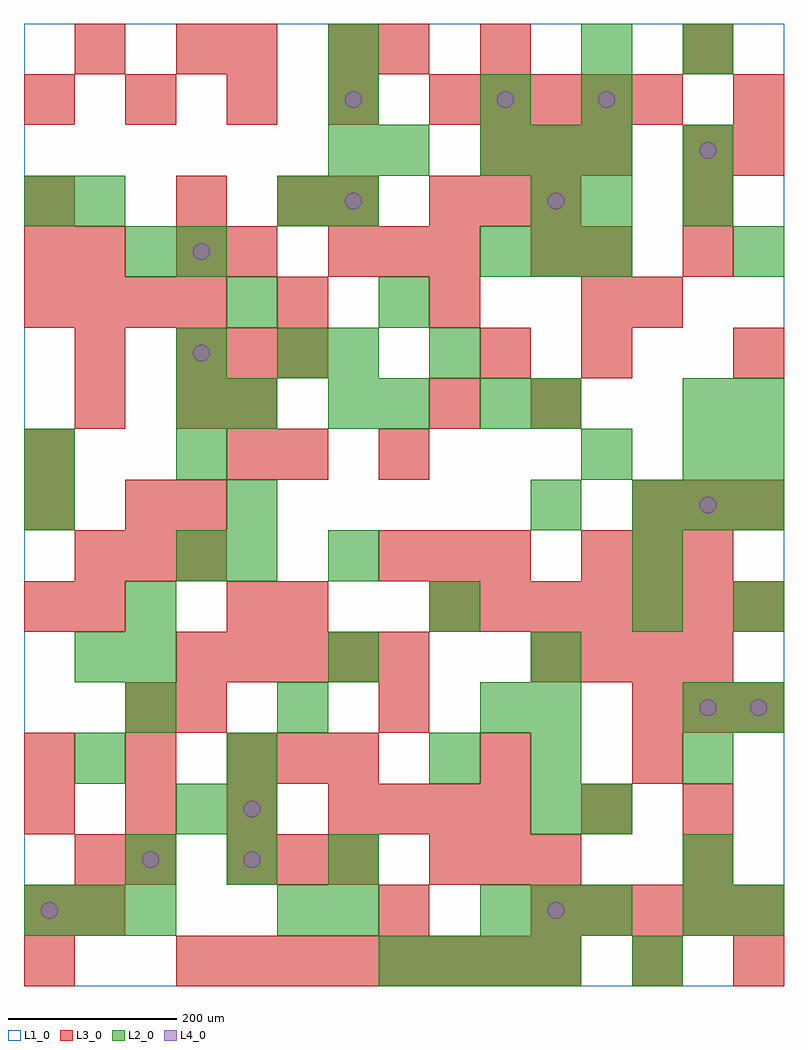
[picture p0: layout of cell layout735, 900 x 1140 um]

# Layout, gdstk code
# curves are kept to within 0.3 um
import gdstk
lib = gdstk.Library(unit=1e-6, precision=1e-09)
def R(c, l, rs):  # rectangles x0, y0, x1, y1
    for r in rs: c.add(gdstk.rectangle(r[:2], r[2:], *l))
def A(c, l, x, y, w, h, nx, ny, dx, dy):  # array of equal rectangles
    R(c, l, [(x+i*dx, y+j*dy, x+i*dx+w, y+j*dy+h) for i in range(nx) for j in range(ny)])
def P(c, l, *ps):  # polygons
    for p in ps: c.add(gdstk.Polygon(p, *l))
L1_0 = (1, 0)
L2_0 = (2, 0)
L3_0 = (3, 0)
L4_0 = (4, 0)

layout735 = lib.new_cell('layout735')
R(layout735, L1_0, [(0,0,900,1140)])
A(layout735, L2_0, 420, 0, 60, 60, 4, 1, 60, 0)
A(layout735, L2_0, 0, 60, 60, 60, 3, 1, 60, 0)
A(layout735, L2_0, 540, 60, 60, 60, 3, 2, 60, 780)
A(layout735, L2_0, 120, 120, 60, 60, 3, 1, 120, 0)
A(layout735, L2_0, 600, 180, 60, 60, 1, 3, 0, 60)
A(layout735, L2_0, 540, 300, 60, 60, 1, 3, 0, 360)
A(layout735, L2_0, 120, 360, 60, 60, 3, 1, 240, 0)
A(layout735, L2_0, 240, 540, 60, 60, 1, 3, 0, 120)
A(layout735, L2_0, 720, 540, 60, 60, 3, 1, 60, 0)
A(layout735, L2_0, 180, 600, 60, 60, 1, 3, 0, 60)
A(layout735, L2_0, 360, 900, 60, 60, 1, 4, 0, 60)
A(layout735, L2_0, 540, 960, 60, 60, 3, 1, 60, 0)
R(layout735, L2_0, [(720,0,780,60), (300,60,360,120), (360,60,420,120), (780,60,840,120), (840,60,900,120), (780,120,840,180), (180,180,240,240), (240,180,300,240), (660,180,720,240), (60,240,120,300), (240,240,300,300), (480,240,540,300), (780,240,840,300), (120,300,180,360), (300,300,360,360), (780,300,840,360), (840,300,900,360), (60,360,120,420), (120,420,180,480), (480,420,540,480), (720,420,780,480), (840,420,900,480), (180,480,240,540), (240,480,300,540), (360,480,420,540), (720,480,780,540), (0,540,60,600), (600,540,660,600), (0,600,60,660), (660,600,720,660), (780,600,840,660), (840,600,900,660), (360,660,420,720), (420,660,480,720), (600,660,660,720), (780,660,840,720), (840,660,900,720), (300,720,360,780), (360,720,420,780), (480,720,540,780), (420,780,480,840), (120,840,180,900), (180,840,240,900), (840,840,900,900), (0,900,60,960), (60,900,120,960), (300,900,360,960), (600,900,660,960), (660,900,720,960), (780,900,840,960), (420,960,480,1020), (780,960,840,1020), (660,1020,720,1080), (660,1080,720,1140), (780,1080,840,1140)])
A(layout735, L3_0, 180, 0, 60, 60, 8, 1, 60, 0)
A(layout735, L3_0, 600, 60, 60, 60, 5, 1, 60, 0)
A(layout735, L3_0, 240, 120, 60, 60, 3, 1, 60, 0)
A(layout735, L3_0, 480, 120, 60, 60, 3, 2, 60, 780)
A(layout735, L3_0, 0, 180, 60, 60, 4, 1, 120, 0)
A(layout735, L3_0, 420, 180, 60, 60, 3, 2, 60, 300)
A(layout735, L3_0, 0, 240, 60, 60, 3, 1, 120, 0)
A(layout735, L3_0, 300, 240, 60, 60, 1, 3, 0, 180)
A(layout735, L3_0, 360, 240, 60, 60, 3, 1, 180, 0)
A(layout735, L3_0, 720, 300, 60, 60, 3, 2, 60, 240)
A(layout735, L3_0, 180, 360, 60, 60, 5, 1, 60, 0)
A(layout735, L3_0, 600, 360, 60, 60, 4, 1, 60, 0)
A(layout735, L3_0, 480, 420, 60, 60, 7, 1, 60, 0)
A(layout735, L3_0, 60, 480, 60, 60, 3, 1, 60, 0)
A(layout735, L3_0, 660, 480, 60, 60, 3, 1, 60, 0)
A(layout735, L3_0, 180, 720, 60, 60, 3, 1, 60, 0)
A(layout735, L3_0, 0, 780, 60, 60, 4, 1, 60, 0)
A(layout735, L3_0, 300, 780, 60, 60, 3, 1, 180, 0)
A(layout735, L3_0, 360, 840, 60, 60, 3, 1, 60, 0)
A(layout735, L3_0, 780, 840, 60, 60, 1, 3, 0, 60)
A(layout735, L3_0, 540, 960, 60, 60, 3, 1, 60, 0)
A(layout735, L3_0, 0, 1020, 60, 60, 5, 1, 120, 0)
A(layout735, L3_0, 540, 1020, 60, 60, 4, 1, 60, 0)
R(layout735, L3_0, [(0,0,60,60), (720,0,780,60), (840,0,900,60), (0,60,60,120), (60,60,120,120), (420,60,480,120), (60,120,120,180), (120,120,180,180), (780,120,840,180), (660,180,720,240), (780,180,840,240), (120,300,180,360), (180,300,240,360), (420,300,480,360), (0,420,60,480), (60,420,120,480), (240,420,300,480), (0,540,60,600), (120,540,180,600), (180,540,240,600), (0,600,60,660), (240,600,300,660), (420,600,480,660), (60,660,120,720), (180,660,240,720), (240,660,300,720), (480,660,540,720), (600,660,660,720), (60,720,120,780), (540,720,600,780), (660,720,720,780), (840,720,900,780), (720,780,780,840), (0,840,60,900), (60,840,120,900), (180,840,240,900), (240,840,300,900), (600,840,660,900), (660,840,720,900), (0,900,60,960), (180,900,240,960), (300,900,360,960), (360,900,420,960), (840,960,900,1020), (840,1020,900,1080), (60,1080,120,1140), (180,1080,240,1140), (240,1080,300,1140), (360,1080,420,1140), (420,1080,480,1140), (540,1080,600,1140), (780,1080,840,1140)])
P(layout735, L4_0, [(40,90),(39.239,93.827),(37.071,97.071),(33.827,99.239),(30,100),(26.173,99.239),(22.929,97.071),(20.761,93.827),(20,90),(20.761,86.173),(22.929,82.929),(26.173,80.761),(30,80),(33.827,80.761),(37.071,82.929),(39.239,86.173)],
  [(160,150),(159.239,153.827),(157.071,157.071),(153.827,159.239),(150,160),(146.173,159.239),(142.929,157.071),(140.761,153.827),(140,150),(140.761,146.173),(142.929,142.929),(146.173,140.761),(150,140),(153.827,140.761),(157.071,142.929),(159.239,146.173)],
  [(220,750),(219.239,753.827),(217.071,757.071),(213.827,759.239),(210,760),(206.173,759.239),(202.929,757.071),(200.761,753.827),(200,750),(200.761,746.173),(202.929,742.929),(206.173,740.761),(210,740),(213.827,740.761),(217.071,742.929),(219.239,746.173)],
  [(220,870),(219.239,873.827),(217.071,877.071),(213.827,879.239),(210,880),(206.173,879.239),(202.929,877.071),(200.761,873.827),(200,870),(200.761,866.173),(202.929,862.929),(206.173,860.761),(210,860),(213.827,860.761),(217.071,862.929),(219.239,866.173)],
  [(280,150),(279.239,153.827),(277.071,157.071),(273.827,159.239),(270,160),(266.173,159.239),(262.929,157.071),(260.761,153.827),(260,150),(260.761,146.173),(262.929,142.929),(266.173,140.761),(270,140),(273.827,140.761),(277.071,142.929),(279.239,146.173)],
  [(280,210),(279.239,213.827),(277.071,217.071),(273.827,219.239),(270,220),(266.173,219.239),(262.929,217.071),(260.761,213.827),(260,210),(260.761,206.173),(262.929,202.929),(266.173,200.761),(270,200),(273.827,200.761),(277.071,202.929),(279.239,206.173)],
  [(400,930),(399.239,933.827),(397.071,937.071),(393.827,939.239),(390,940),(386.173,939.239),(382.929,937.071),(380.761,933.827),(380,930),(380.761,926.173),(382.929,922.929),(386.173,920.761),(390,920),(393.827,920.761),(397.071,922.929),(399.239,926.173)],
  [(400,1050),(399.239,1053.827),(397.071,1057.071),(393.827,1059.239),(390,1060),(386.173,1059.239),(382.929,1057.071),(380.761,1053.827),(380,1050),(380.761,1046.173),(382.929,1042.929),(386.173,1040.761),(390,1040),(393.827,1040.761),(397.071,1042.929),(399.239,1046.173)],
  [(580,1050),(579.239,1053.827),(577.071,1057.071),(573.827,1059.239),(570,1060),(566.173,1059.239),(562.929,1057.071),(560.761,1053.827),(560,1050),(560.761,1046.173),(562.929,1042.929),(566.173,1040.761),(570,1040),(573.827,1040.761),(577.071,1042.929),(579.239,1046.173)],
  [(640,90),(639.239,93.827),(637.071,97.071),(633.827,99.239),(630,100),(626.173,99.239),(622.929,97.071),(620.761,93.827),(620,90),(620.761,86.173),(622.929,82.929),(626.173,80.761),(630,80),(633.827,80.761),(637.071,82.929),(639.239,86.173)],
  [(640,930),(639.239,933.827),(637.071,937.071),(633.827,939.239),(630,940),(626.173,939.239),(622.929,937.071),(620.761,933.827),(620,930),(620.761,926.173),(622.929,922.929),(626.173,920.761),(630,920),(633.827,920.761),(637.071,922.929),(639.239,926.173)],
  [(700,1050),(699.239,1053.827),(697.071,1057.071),(693.827,1059.239),(690,1060),(686.173,1059.239),(682.929,1057.071),(680.761,1053.827),(680,1050),(680.761,1046.173),(682.929,1042.929),(686.173,1040.761),(690,1040),(693.827,1040.761),(697.071,1042.929),(699.239,1046.173)],
  [(820,330),(819.239,333.827),(817.071,337.071),(813.827,339.239),(810,340),(806.173,339.239),(802.929,337.071),(800.761,333.827),(800,330),(800.761,326.173),(802.929,322.929),(806.173,320.761),(810,320),(813.827,320.761),(817.071,322.929),(819.239,326.173)],
  [(820,570),(819.239,573.827),(817.071,577.071),(813.827,579.239),(810,580),(806.173,579.239),(802.929,577.071),(800.761,573.827),(800,570),(800.761,566.173),(802.929,562.929),(806.173,560.761),(810,560),(813.827,560.761),(817.071,562.929),(819.239,566.173)],
  [(820,990),(819.239,993.827),(817.071,997.071),(813.827,999.239),(810,1000),(806.173,999.239),(802.929,997.071),(800.761,993.827),(800,990),(800.761,986.173),(802.929,982.929),(806.173,980.761),(810,980),(813.827,980.761),(817.071,982.929),(819.239,986.173)],
  [(880,330),(879.239,333.827),(877.071,337.071),(873.827,339.239),(870,340),(866.173,339.239),(862.929,337.071),(860.761,333.827),(860,330),(860.761,326.173),(862.929,322.929),(866.173,320.761),(870,320),(873.827,320.761),(877.071,322.929),(879.239,326.173)])

lib.write_gds('layout735.gds')
